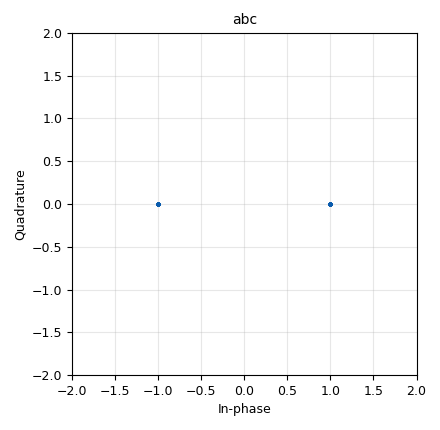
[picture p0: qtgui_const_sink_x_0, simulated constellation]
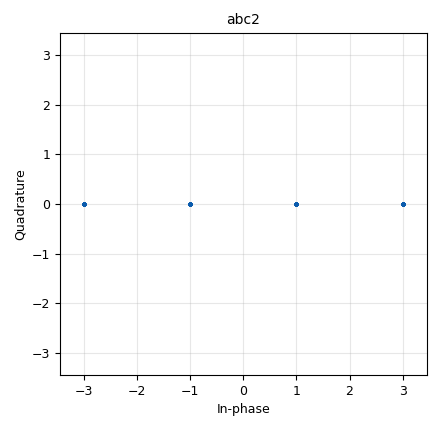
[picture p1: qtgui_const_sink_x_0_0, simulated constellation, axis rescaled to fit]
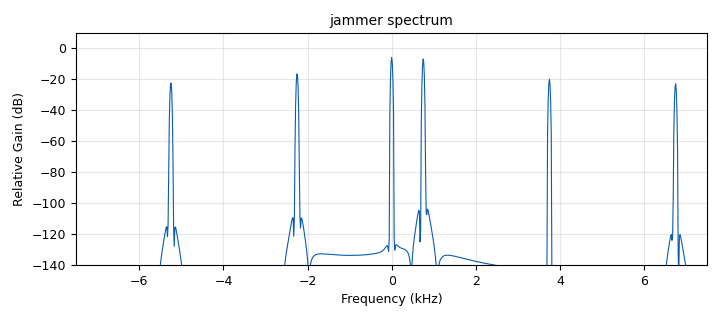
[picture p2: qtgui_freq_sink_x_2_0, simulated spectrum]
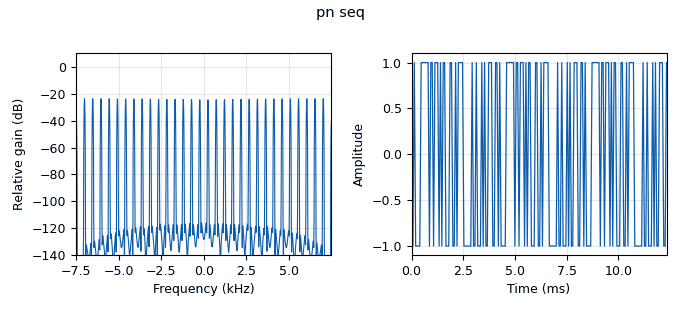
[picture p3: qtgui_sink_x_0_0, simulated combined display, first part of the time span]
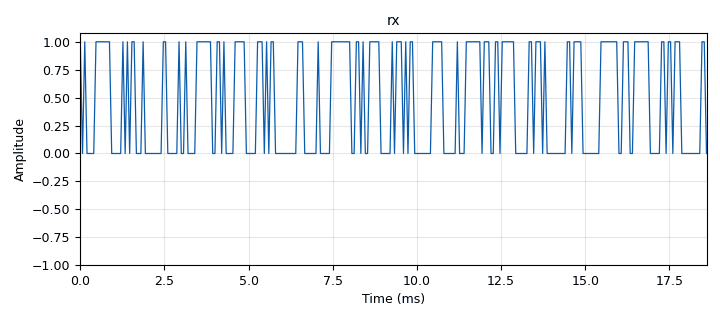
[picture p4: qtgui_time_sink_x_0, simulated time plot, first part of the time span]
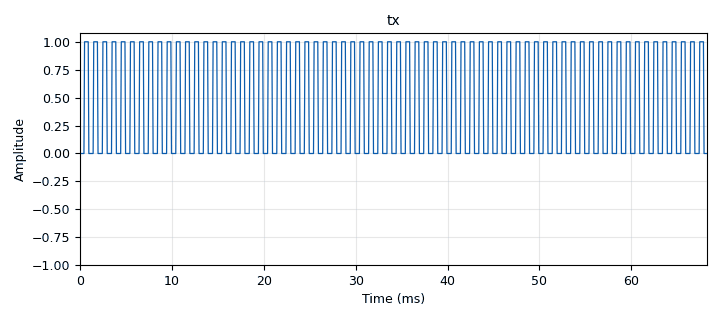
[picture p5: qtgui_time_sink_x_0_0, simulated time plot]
options:
  parameters:
    generate_options: qt_gui
    id: xxx
    output_language: python
    title: DSSS_Block
  states: {}

blocks:
- name: samp_rate
  id: variable
  parameters:
    value: '15000'
  states: {}
- name: variable_constellation_0
  id: variable_constellation
  parameters:
    precision: '8'
    type: bpsk
  states: {}
- name: analog_random_source_x_0
  id: analog_random_source_x
  parameters:
    max: '2'
    min: '0'
    num_samps: '1000'
    repeat: 'True'
    type: byte
  states: {state: disabled}
- name: analog_sig_source_x_0
  id: analog_sig_source_x
  parameters:
    amp: '1'
    freq: '100'
    offset: '0'
    phase: '0'
    samp_rate: samp_rate
    type: float
    waveform: analog.GR_SQR_WAVE
  states: {state: disabled}
- name: analog_sig_source_x_0_0
  id: analog_sig_source_x
  parameters:
    amp: '1'
    freq: '750'
    offset: '0'
    phase: '0'
    samp_rate: samp_rate
    type: float
    waveform: analog.GR_COS_WAVE
  states: {state: disabled}
- name: analog_sig_source_x_0_0_0
  id: analog_sig_source_x
  parameters:
    amp: '1'
    freq: '750'
    offset: '0'
    phase: '0'
    samp_rate: samp_rate
    type: float
    waveform: analog.GR_COS_WAVE
  states: {state: disabled}
- name: analog_sig_source_x_0_0_1
  id: analog_sig_source_x
  parameters:
    amp: '2'
    freq: '750'
    offset: '0'
    phase: '30'
    samp_rate: samp_rate
    type: complex
    waveform: analog.GR_COS_WAVE
  states: {state: disabled}
- name: analog_sig_source_x_0_0_1_0
  id: analog_sig_source_x
  parameters:
    amp: '2'
    freq: '750'
    offset: '0'
    phase: '30'
    samp_rate: samp_rate
    type: complex
    waveform: analog.GR_SQR_WAVE
  states: {}
- name: analog_sig_source_x_1
  id: analog_sig_source_x
  parameters:
    amp: '1'
    freq: 1000/2
    offset: '0'
    phase: '0'
    samp_rate: samp_rate
    type: byte
    waveform: analog.GR_SQR_WAVE
  states: {state: disabled}
- name: analog_sig_source_x_2
  id: analog_sig_source_x
  parameters:
    amp: '1'
    freq: '1000'
    offset: '0'
    phase: '0'
    samp_rate: samp_rate
    type: byte
    waveform: analog.GR_SQR_WAVE
  states: {}
- name: blocks_add_xx_0
  id: blocks_add_xx
  parameters:
    type: complex
  states: {state: disabled}
- name: blocks_add_xx_0_0
  id: blocks_add_xx
  parameters:
    type: complex
  states: {}
- name: blocks_char_to_float_0
  id: blocks_char_to_float
  parameters:
    scale: '1'
  states: {}
- name: blocks_char_to_float_0_0
  id: blocks_char_to_float
  parameters:
    scale: '1'
  states: {}
- name: blocks_complex_to_float_0
  id: blocks_complex_to_float
  parameters: {}
  states: {state: disabled}
- name: blocks_complex_to_float_0_0
  id: blocks_complex_to_float
  parameters: {}
  states: {}
- name: blocks_complex_to_float_0_1
  id: blocks_complex_to_float
  parameters: {}
  states: {}
- name: blocks_delay_0
  id: blocks_delay
  parameters:
    delay: '3'
    type: complex
  states: {state: disabled}
- name: blocks_delay_0_0
  id: blocks_delay
  parameters:
    delay: '3'
    type: complex
  states: {}
- name: blocks_float_to_complex_0
  id: blocks_float_to_complex
  parameters: {}
  states: {state: disabled}
- name: blocks_float_to_complex_0_0
  id: blocks_float_to_complex
  parameters: {}
  states: {}
- name: blocks_float_to_complex_1
  id: blocks_float_to_complex
  parameters: {}
  states: {}
- name: blocks_float_to_int_0
  id: blocks_float_to_int
  parameters:
    scale: '1'
  states: {state: disabled}
- name: blocks_float_to_int_0_0
  id: blocks_float_to_int
  parameters:
    scale: '1'
  states: {state: disabled}
- name: blocks_float_to_int_0_0_0
  id: blocks_float_to_int
  parameters:
    scale: '1'
  states: {}
- name: blocks_float_to_int_0_1
  id: blocks_float_to_int
  parameters:
    scale: '1'
  states: {state: disabled}
- name: blocks_float_to_int_0_1_0
  id: blocks_float_to_int
  parameters:
    scale: '1'
  states: {}
- name: blocks_float_to_int_0_2
  id: blocks_float_to_int
  parameters:
    scale: '1'
  states: {state: disabled}
- name: blocks_float_to_int_0_2_0
  id: blocks_float_to_int
  parameters:
    scale: '1'
  states: {}
- name: blocks_float_to_int_0_3
  id: blocks_float_to_int
  parameters:
    scale: '1'
  states: {}
- name: blocks_float_to_int_1
  id: blocks_float_to_int
  parameters:
    scale: '1'
  states: {state: disabled}
- name: blocks_int_to_float_0
  id: blocks_int_to_float
  parameters:
    scale: '1'
  states: {state: disabled}
- name: blocks_int_to_float_0_0
  id: blocks_int_to_float
  parameters:
    scale: '1'
  states: {state: disabled}
- name: blocks_int_to_float_0_0_0
  id: blocks_int_to_float
  parameters:
    scale: '1'
  states: {}
- name: blocks_int_to_float_0_1
  id: blocks_int_to_float
  parameters:
    scale: '1'
  states: {}
- name: blocks_int_to_float_1
  id: blocks_int_to_float
  parameters:
    scale: '1'
  states: {state: disabled}
- name: blocks_multiply_xx_0
  id: blocks_multiply_xx
  parameters:
    type: float
  states: {state: disabled}
- name: blocks_multiply_xx_0_0
  id: blocks_multiply_xx
  parameters:
    type: float
  states: {state: disabled}
- name: blocks_throttle_0
  id: blocks_throttle
  parameters:
    samples_per_second: samp_rate
    type: float
  states: {state: disabled}
- name: blocks_xor_xx_0_0_0
  id: blocks_xor_xx
  parameters:
    type: int
  states: {state: disabled}
- name: blocks_xor_xx_0_0_0_0
  id: blocks_xor_xx
  parameters:
    type: int
  states: {state: disabled}
- name: blocks_xor_xx_0_0_0_0_0
  id: blocks_xor_xx
  parameters:
    type: int
  states: {}
- name: blocks_xor_xx_0_0_0_1
  id: blocks_xor_xx
  parameters:
    type: int
  states: {}
- name: channels_channel_model_0
  id: channels_channel_model
  parameters:
    block_tags: 'True'
    epsilon: '1.0'
    freq_offset: '0'
    noise_voltage: '0.0'
    seed: '0'
    taps: 1+0j
  states: {state: disabled}
- name: channels_channel_model_0_0
  id: channels_channel_model
  parameters:
    block_tags: 'True'
    epsilon: '1.0'
    freq_offset: '0'
    noise_voltage: '0.0'
    seed: '0'
    taps: 1+0j
  states: {}
- name: digital_binary_slicer_fb_0
  id: digital_binary_slicer_fb
  parameters: {}
  states: {}
- name: digital_constellation_encoder_bc_0
  id: digital_constellation_encoder_bc
  parameters:
    constellation: variable_constellation_0
  states: {}
- name: digital_constellation_modulator_0
  id: digital_constellation_modulator
  parameters:
    constellation: variable_constellation_0
    differential: 'True'
    excess_bw: '0.35'
    samples_per_symbol: '2'
  states: {state: disabled}
- name: digital_constellation_soft_decoder_cf_0
  id: digital_constellation_soft_decoder_cf
  parameters:
    constellation: variable_constellation_0
  states: {}
- name: digital_glfsr_source_x_0
  id: digital_glfsr_source_x
  parameters:
    degree: '32'
    mask: '100'
    repeat: 'True'
    seed: '1'
    type: float
  states: {state: disabled}
- name: digital_glfsr_source_x_0_0
  id: digital_glfsr_source_x
  parameters:
    degree: '8'
    mask: '100'
    repeat: 'True'
    seed: '1'
    type: float
  states: {state: disabled}
- name: digital_glfsr_source_x_0_0_0
  id: digital_glfsr_source_x
  parameters:
    degree: '8'
    mask: '100'
    repeat: 'True'
    seed: '1'
    type: float
  states: {}
- name: digital_glfsr_source_x_0_1
  id: digital_glfsr_source_x
  parameters:
    degree: '8'
    mask: '100'
    repeat: 'True'
    seed: '1'
    type: float
  states: {}
- name: low_pass_filter_0
  id: low_pass_filter
  parameters:
    beta: '5.00'
    cutoff_freq: '940'
    gain: '2'
    interp: '1'
    samp_rate: '3000'
    type: interp_fir_filter_fff
    width: '10'
    win: window.WIN_HAMMING
  states: {state: disabled}
- name: qtgui_const_sink_x_0
  id: qtgui_const_sink_x
  parameters:
    name: '"abc"'
    size: '1024'
    type: complex
  states: {}
- name: qtgui_const_sink_x_0_0
  id: qtgui_const_sink_x
  parameters:
    name: '"abc2"'
    size: '1024'
    type: complex
  states: {}
- name: qtgui_freq_sink_x_0_0
  id: qtgui_freq_sink_x
  parameters:
    bw: samp_rate
    fc: '0'
    fftsize: '1024'
    name: '"Rx_Spectrum"'
    type: float
  states: {state: disabled}
- name: qtgui_freq_sink_x_1
  id: qtgui_freq_sink_x
  parameters:
    bw: samp_rate
    fc: '0'
    fftsize: '1024'
    name: '"before channel model (tx)"'
    type: float
  states: {state: disabled}
- name: qtgui_freq_sink_x_2
  id: qtgui_freq_sink_x
  parameters:
    bw: samp_rate
    fc: '0'
    fftsize: '1024'
    name: jammer spectrum
    type: complex
  states: {state: disabled}
- name: qtgui_freq_sink_x_2_0
  id: qtgui_freq_sink_x
  parameters:
    bw: samp_rate
    fc: '0'
    fftsize: '1024'
    name: jammer spectrum
    type: complex
  states: {}
- name: qtgui_freq_sink_x_3
  id: qtgui_freq_sink_x
  parameters:
    bw: samp_rate
    fc: '0'
    fftsize: '1024'
    name: tx carrier
    type: float
  states: {state: disabled}
- name: qtgui_number_sink_0_0
  id: qtgui_number_sink
  parameters:
    graph_type: qtgui.NUM_GRAPH_HORIZ
    name: '"2"'
    type: float
  states: {}
- name: qtgui_number_sink_0_1
  id: qtgui_number_sink
  parameters:
    graph_type: qtgui.NUM_GRAPH_HORIZ
    name: '"4"'
    type: float
  states: {}
- name: qtgui_number_sink_0_2
  id: qtgui_number_sink
  parameters:
    graph_type: qtgui.NUM_GRAPH_HORIZ
    name: '"3"'
    type: float
  states: {}
- name: qtgui_sink_x_0
  id: qtgui_sink_x
  parameters:
    bw: samp_rate
    fc: '0'
    fftsize: '1024'
    type: float
  states: {state: disabled}
- name: qtgui_sink_x_0_0
  id: qtgui_sink_x
  parameters:
    bw: samp_rate
    fc: '0'
    fftsize: '1024'
    name: '"pn seq"'
    type: float
  states: {}
- name: qtgui_time_sink_x_0
  id: qtgui_time_sink_x
  parameters:
    name: '"rx"'
    size: '1024'
    srate: samp_rate
    type: float
  states: {}
- name: qtgui_time_sink_x_0_0
  id: qtgui_time_sink_x
  parameters:
    name: '"tx"'
    size: '1024'
    srate: samp_rate
    type: float
  states: {}
- name: qtgui_time_sink_x_0_0_0
  id: qtgui_time_sink_x
  parameters:
    ctrlpanel: 'True'
    name: message Signal
    size: '128'
    srate: samp_rate
    type: float
  states: {state: disabled}
- name: qtgui_time_sink_x_0_0_0_0
  id: qtgui_time_sink_x
  parameters:
    ctrlpanel: 'True'
    name: Received Signal
    size: '128'
    srate: samp_rate
    type: float
  states: {state: disabled}

connections:
- [analog_random_source_x_0, '0', blocks_char_to_float_0_0, '0']
- [analog_random_source_x_0, '0', digital_constellation_encoder_bc_0, '0']
- [analog_random_source_x_0, '0', digital_constellation_modulator_0, '0']
- [analog_sig_source_x_0, '0', blocks_throttle_0, '0']
- [analog_sig_source_x_0_0, '0', blocks_multiply_xx_0, '1']
- [analog_sig_source_x_0_0, '0', qtgui_freq_sink_x_3, '0']
- [analog_sig_source_x_0_0_0, '0', blocks_multiply_xx_0_0, '0']
- [analog_sig_source_x_0_0_1, '0', blocks_add_xx_0, '1']
- [analog_sig_source_x_0_0_1, '0', qtgui_freq_sink_x_2, '0']
- [analog_sig_source_x_0_0_1_0, '0', blocks_add_xx_0_0, '1']
- [analog_sig_source_x_0_0_1_0, '0', qtgui_freq_sink_x_2_0, '0']
- [analog_sig_source_x_1, '0', blocks_char_to_float_0_0, '0']
- [analog_sig_source_x_1, '0', digital_constellation_encoder_bc_0, '0']
- [analog_sig_source_x_2, '0', blocks_char_to_float_0_0, '0']
- [analog_sig_source_x_2, '0', digital_constellation_encoder_bc_0, '0']
- [blocks_add_xx_0, '0', channels_channel_model_0, '0']
- [blocks_add_xx_0_0, '0', channels_channel_model_0_0, '0']
- [blocks_char_to_float_0, '0', qtgui_time_sink_x_0, '0']
- [blocks_char_to_float_0_0, '0', qtgui_time_sink_x_0_0, '0']
- [blocks_complex_to_float_0, '0', blocks_float_to_int_0_1, '0']
- [blocks_complex_to_float_0_0, '0', blocks_float_to_int_0_3, '0']
- [blocks_complex_to_float_0_0, '0', qtgui_number_sink_0_0, '0']
- [blocks_complex_to_float_0_1, '0', blocks_float_to_int_0_1_0, '0']
- [blocks_delay_0, '0', blocks_complex_to_float_0, '0']
- [blocks_delay_0_0, '0', blocks_complex_to_float_0_1, '0']
- [blocks_float_to_complex_0, '0', blocks_add_xx_0, '0']
- [blocks_float_to_complex_0, '0', channels_channel_model_0, '0']
- [blocks_float_to_complex_0_0, '0', blocks_add_xx_0_0, '0']
- [blocks_float_to_complex_1, '0', digital_constellation_soft_decoder_cf_0, '0']
- [blocks_float_to_complex_1, '0', qtgui_const_sink_x_0_0, '0']
- [blocks_float_to_int_0, '0', blocks_xor_xx_0_0_0, '0']
- [blocks_float_to_int_0_0, '0', blocks_xor_xx_0_0_0, '1']
- [blocks_float_to_int_0_0_0, '0', blocks_xor_xx_0_0_0_1, '1']
- [blocks_float_to_int_0_1, '0', blocks_xor_xx_0_0_0_0, '0']
- [blocks_float_to_int_0_1_0, '0', blocks_xor_xx_0_0_0_0_0, '0']
- [blocks_float_to_int_0_2, '0', blocks_xor_xx_0_0_0_0, '1']
- [blocks_float_to_int_0_2_0, '0', blocks_xor_xx_0_0_0_0_0, '1']
- [blocks_float_to_int_0_3, '0', blocks_xor_xx_0_0_0_1, '0']
- [blocks_float_to_int_1, '0', blocks_int_to_float_1, '0']
- [blocks_int_to_float_0, '0', blocks_float_to_complex_0, '0']
- [blocks_int_to_float_0, '0', qtgui_freq_sink_x_1, '0']
- [blocks_int_to_float_0_0, '0', blocks_multiply_xx_0_0, '1']
- [blocks_int_to_float_0_0_0, '0', blocks_float_to_complex_1, '0']
- [blocks_int_to_float_0_0_0, '0', qtgui_number_sink_0_2, '0']
- [blocks_int_to_float_0_1, '0', blocks_float_to_complex_0_0, '0']
- [blocks_int_to_float_1, '0', qtgui_time_sink_x_0_0_0_0, '0']
- [blocks_multiply_xx_0, '0', blocks_float_to_int_0, '0']
- [blocks_multiply_xx_0_0, '0', low_pass_filter_0, '0']
- [blocks_throttle_0, '0', blocks_multiply_xx_0, '0']
- [blocks_throttle_0, '0', qtgui_time_sink_x_0_0_0, '0']
- [blocks_xor_xx_0_0_0, '0', blocks_int_to_float_0, '0']
- [blocks_xor_xx_0_0_0_0, '0', blocks_int_to_float_0_0, '0']
- [blocks_xor_xx_0_0_0_0_0, '0', blocks_int_to_float_0_0_0, '0']
- [blocks_xor_xx_0_0_0_1, '0', blocks_int_to_float_0_1, '0']
- [channels_channel_model_0, '0', blocks_delay_0, '0']
- [channels_channel_model_0_0, '0', blocks_delay_0_0, '0']
- [digital_binary_slicer_fb_0, '0', blocks_char_to_float_0, '0']
- [digital_constellation_encoder_bc_0, '0', blocks_complex_to_float_0_0, '0']
- [digital_constellation_encoder_bc_0, '0', qtgui_const_sink_x_0, '0']
- [digital_constellation_modulator_0, '0', blocks_complex_to_float_0_0, '0']
- [digital_constellation_modulator_0, '0', qtgui_const_sink_x_0, '0']
- [digital_constellation_soft_decoder_cf_0, '0', digital_binary_slicer_fb_0, '0']
- [digital_constellation_soft_decoder_cf_0, '0', qtgui_number_sink_0_1, '0']
- [digital_glfsr_source_x_0, '0', blocks_float_to_int_0_0, '0']
- [digital_glfsr_source_x_0, '0', qtgui_sink_x_0, '0']
- [digital_glfsr_source_x_0_0, '0', blocks_float_to_int_0_2, '0']
- [digital_glfsr_source_x_0_0_0, '0', blocks_float_to_int_0_2_0, '0']
- [digital_glfsr_source_x_0_1, '0', blocks_float_to_int_0_0_0, '0']
- [digital_glfsr_source_x_0_1, '0', qtgui_sink_x_0_0, '0']
- [low_pass_filter_0, '0', blocks_float_to_int_1, '0']
- [low_pass_filter_0, '0', qtgui_freq_sink_x_0_0, '0']

metadata:
  file_format: 1
  grc_version: 3.10.4.0
